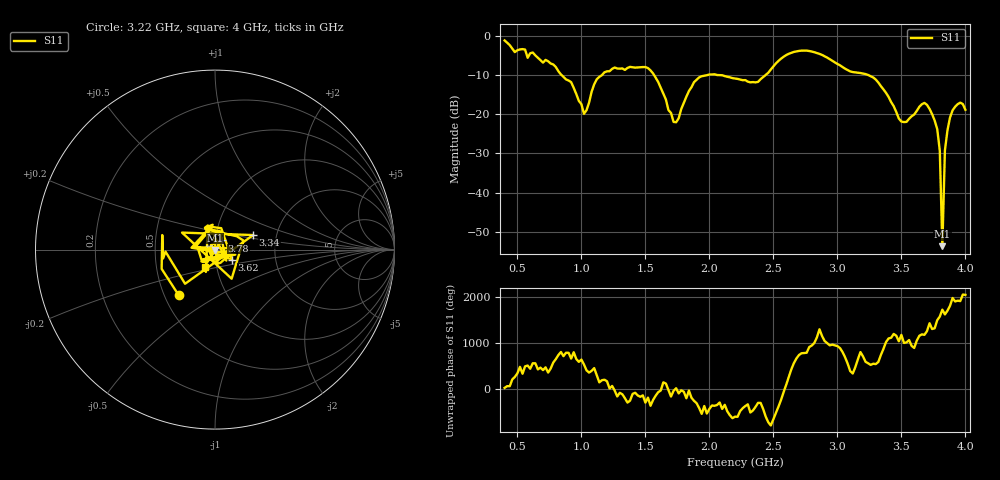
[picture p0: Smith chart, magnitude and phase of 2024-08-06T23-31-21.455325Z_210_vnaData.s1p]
!Created with skrf (http://scikit-rf.org).
# Hz S RI R 50.0
!freq ReS11 ImS11
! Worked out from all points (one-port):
!   181 points, 400 MHz to 4 GHz, reference 50 ohm
!   lowest |S11| = -53.7 dB at 3.82 GHz (marker M1), VSWR 1.00, Z = 50 - j0.204 ohm
!   |S11| at or under -10 dB: 1.567 GHz to 1.987 GHz (419.7 MHz wide, 23.6 % of centre); 2.059 GHz to 2.44 GHz (381.2 MHz wide, 16.9 % of centre); 3.239 GHz to end of sweep (the widest 3 of 4)
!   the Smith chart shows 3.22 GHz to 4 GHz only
!   S11 on the Smith chart (normalised r, x): 3.22 GHz: 0.59, -0.34; 3.34 GHz: 1.51, +0.26; 3.62 GHz: 1.20, -0.13; 3.78 GHz: 1.08, +0.11; 4 GHz: 0.88, -0.18
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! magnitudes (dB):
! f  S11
! 400 MHz  -1.2
! 860 MHz  -10.5
! 920 MHz  -11.8
! 1.02 GHz  -19.9
! 1.12 GHz  -11.1
! 1.3 GHz  -8.4
! 1.52 GHz  -8.2
! 1.6 GHz  -11.8
! 1.72 GHz  -22.0
! 1.76 GHz  -21.0
! 1.92 GHz  -10.6
! 2.2 GHz  -10.9
! 2.38 GHz  -11.8
! 2.66 GHz  -4.1
! 3.1 GHz  -9.1
! 3.22 GHz  -9.8
! 3.34 GHz  -12.9
! 3.5 GHz  -21.9
! 3.56 GHz  -21.2
! 3.62 GHz  -19.2
! 3.7 GHz  -17.6
! 3.78 GHz  -23.8
! 3.8 GHz  -29.3
! 3.82 GHz  -53.7
! 3.84 GHz  -29.3
! 3.86 GHz  -24.1
! 3.92 GHz  -18.1
! 4 GHz  -18.9
